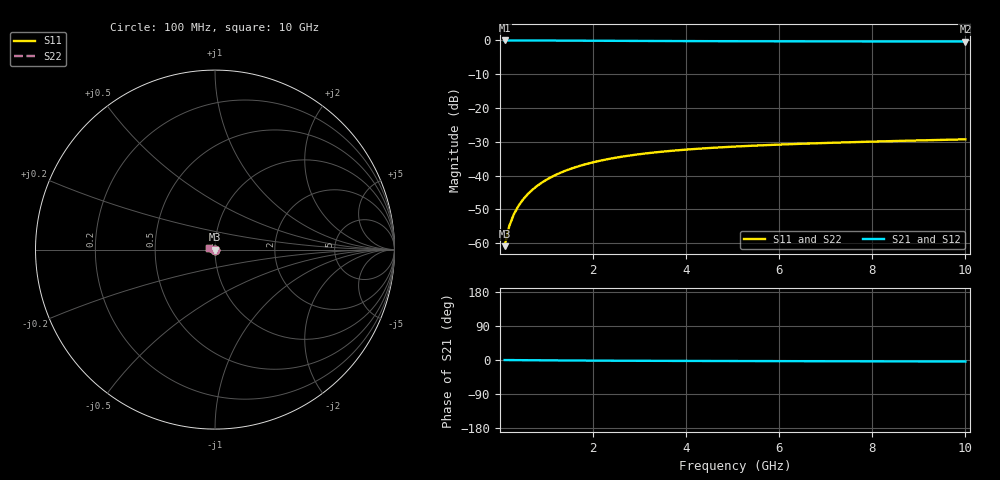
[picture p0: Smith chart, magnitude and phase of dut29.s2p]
! Touchstone file exported from HFSS 2024.1.0
!  File:  C:/UserFiles/LocalFiles/RDL_TSV_Batchsim/temp_TSV1_29_1779369854.aedt
!  Generated:  09:30:21 PM May 21, 2026
!  Design:  TSV1
!  Project:  temp_TSV1_29_1779369854
!  Setup:  Setup1
!  Solution:  Sweep
! Variables:
!  dtsv = 10um
!  hbump = 3um
!  htsv = 59.72um
!  lrdl = 252.1521522um
!  p = 40
!  p1 = 52.86um
!  t = 500um
!  trdl = 3um
!  wrdl = 24.89489489um
# GHz S MA R 50.000000
! Terminal data exported
! Port[1] = TSV22_T1
! Port[2] = TSV22_T2
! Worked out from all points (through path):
!   100 points, 100 MHz to 10 GHz, reference 50 ohm
!   highest |S21| = 0.00 dB at 100 MHz (marker M1); lowest = -0.3 dB at 10 GHz (marker M2)
!   lowest |S11| = -60.9 dB at 100 MHz (marker M3), VSWR 1.00, Z = 50 - j0.0896 ohm
!   |S11| at or under -10 dB: start of sweep to end of sweep
!   |S22| runs from -60.9 to -29.3 dB; largest |S21 - S12| = 7.1e-15
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0.1  0.0009009 -84.2  0.9998 -0.1  0.9998 -0.1  0.0009009 -84.2
! Gamma 0 0 0 0
! Port Impedance 50 0 50 0
0.2  0.001792 -89.8  0.9997 -0.2  0.9997 -0.2  0.001792 -89.8
0.3  0.002686 -93.0  0.9996 -0.3  0.9996 -0.3  0.002686 -93.0
0.4  0.003576 -95.6  0.9993 -0.4  0.9993 -0.4  0.003576 -95.6
0.5  0.004458 -98.0  0.9991 -0.5  0.9991 -0.5  0.004458 -98.0
0.6  0.00533 -100.2  0.9987 -0.6  0.9987 -0.6  0.00533 -100.2
0.7  0.006189 -102.4  0.9983 -0.7  0.9983 -0.7  0.006189 -102.4
0.8  0.007034 -104.4  0.9979 -0.7  0.9979 -0.7  0.007034 -104.4
0.9  0.007864 -106.4  0.9974 -0.8  0.9974 -0.8  0.007864 -106.4
1.1  0.00947 -110.3  0.9963 -1.0  0.9963 -1.0  0.00947 -110.3
1.4  0.01174 -115.8  0.9945 -1.2  0.9945 -1.2  0.01174 -115.8
1.6  0.01314 -119.3  0.9932 -1.4  0.9932 -1.4  0.01314 -119.3
1.8  0.01446 -122.7  0.9918 -1.5  0.9918 -1.5  0.01446 -122.7
2.1  0.01628 -127.4  0.9897 -1.7  0.9897 -1.7  0.01628 -127.4
2.5  0.01843 -133.3  0.9869 -1.9  0.9869 -1.9  0.01843 -133.3
2.9  0.02029 -138.6  0.9843 -2.1  0.9843 -2.1  0.02029 -138.6
3.4  0.02226 -144.7  0.9813 -2.3  0.9813 -2.3  0.02226 -144.7
4.2  0.02478 -153.1  0.9773 -2.5  0.9773 -2.5  0.02478 -153.1
5.1  0.02697 -161.2  0.9737 -2.8  0.9737 -2.8  0.02697 -161.2
6.7  0.0299 -172.8  0.9693 -3.2  0.9693 -3.2  0.0299 -172.8
8.4  0.03234 177.3  0.9662 -3.6  0.9662 -3.6  0.03234 177.3
10  0.03437 169.5  0.9642 -4.0  0.9642 -4.0  0.03437 169.5
